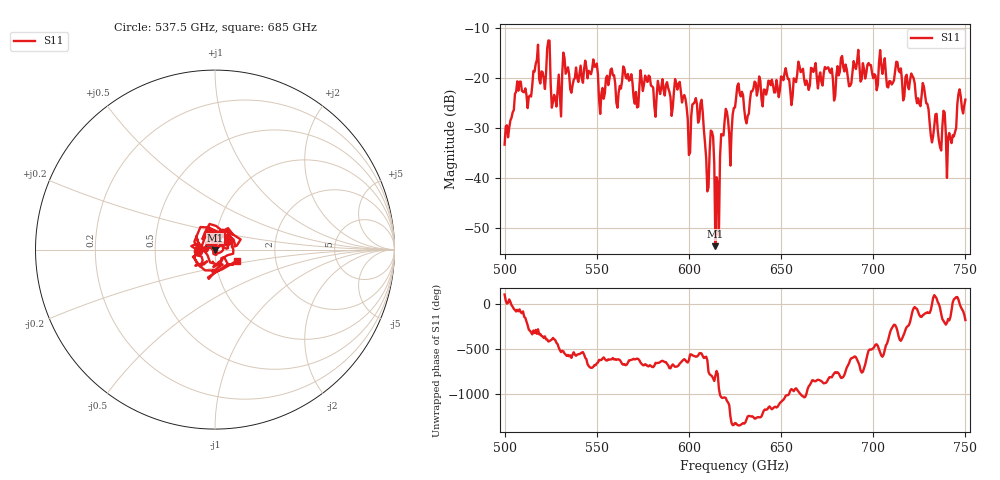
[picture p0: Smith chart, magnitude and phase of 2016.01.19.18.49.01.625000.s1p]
!Created with skrf (http://scikit-rf.org).
# GHz S RI R 50.0
!freq ReS11 ImS11
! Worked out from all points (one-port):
!   401 points, 500 GHz to 750 GHz, reference 50 ohm
!   lowest |S11| = -53.7 dB at 614.4 GHz (marker M1), VSWR 1.00, Z = 50 - j0.202 ohm
!   |S11| at or under -10 dB: start of sweep to end of sweep
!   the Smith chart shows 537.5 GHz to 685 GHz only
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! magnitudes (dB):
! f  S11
! 500 GHz  -33.3
! 507.5 GHz  -22.5
! 513.8 GHz  -23.5
! 516.9 GHz  -17.1
! 523.8 GHz  -12.5
! 526.9 GHz  -23.4
! 531.2 GHz  -19.2
! 548.8 GHz  -17.7
! 552.5 GHz  -23.1
! 558.1 GHz  -18.1
! 562.5 GHz  -21.6
! 593.8 GHz  -22.3
! 600 GHz  -35.4
! 606.9 GHz  -24.3
! 609.4 GHz  -36.1
! 612.5 GHz  -30.7
! 614.4 GHz  -53.7
! 615.6 GHz  -41.2
! 618.8 GHz  -31.5
! 622.5 GHz  -37.5
! 625 GHz  -25.9
! 656.2 GHz  -23.6
! 660.6 GHz  -18.8
! 687.5 GHz  -21.5
! 718.8 GHz  -21.6
! 741.2 GHz  -31.0
! 746.9 GHz  -22.3
! 750 GHz  -24.3
